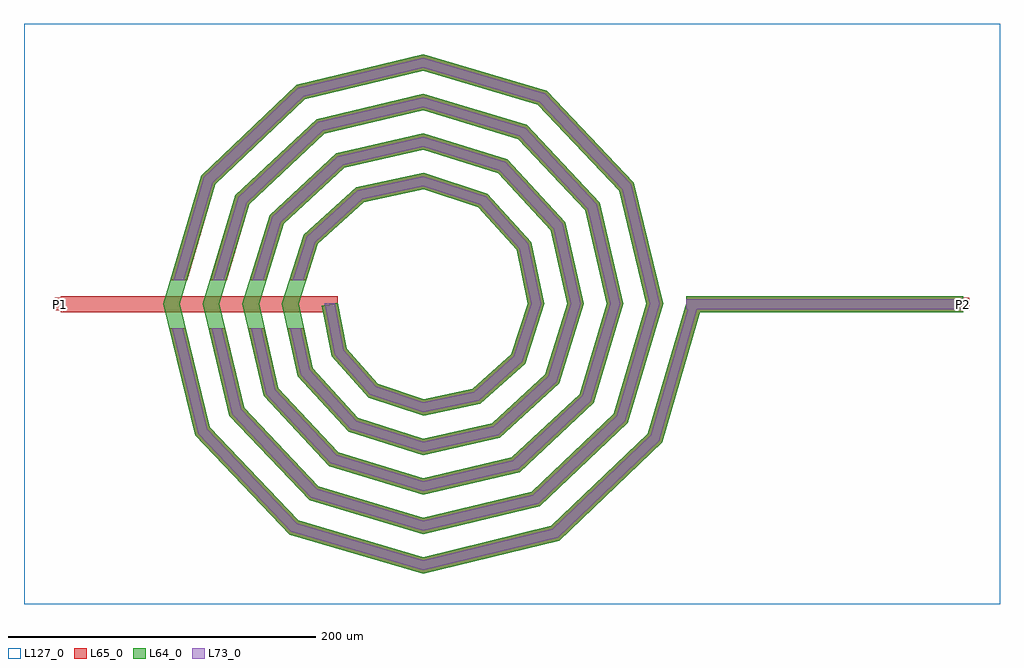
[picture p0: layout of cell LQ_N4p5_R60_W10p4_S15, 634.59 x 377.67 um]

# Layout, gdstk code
import gdstk
lib = gdstk.Library(unit=1e-6, precision=1e-09)
def R(c, l, rs):  # rectangles x0, y0, x1, y1
    for r in rs: c.add(gdstk.rectangle(r[:2], r[2:], *l))
def P(c, l, *ps):  # polygons
    for p in ps: c.add(gdstk.Polygon(p, *l))
L64_0 = (64, 0)
L65_0 = (65, 0)
L73_0 = (73, 0)
L127_0 = (127, 0)

lq_n4p5_r60_w10p4_s15 = lib.new_cell('LQ_N4p5_R60_W10p4_S15')
R(lq_n4p5_r60_w10p4_s15, L64_0, [(171.101,-5.2,351.101,5.2)])
P(lq_n4p5_r60_w10p4_s15, L64_0, [(-49.587,-29.024),(-29.512,-51.777),(0.32,-61.736),(32.207,-55.164),(57.323,-32.748),(68.158,0.292),(60.738,35.395),(35.98,62.872),(0.269,74.58),(-38.587,66.311),(-68.423,39.21),(-81.002,0.249),(-71.882,-41.782),(-42.436,-73.976),(0.232,-87.424),(44.978,-77.452),(79.53,-45.661),(93.846,0.217),(83.021,48.177),(48.884,85.085),(0.203,100.269),(-51.378,88.59),(-90.641,52.106),(-106.691,0.192),(-94.157,-54.579),(-55.327,-96.198),(0.181,-113.114),(57.782,-99.725),(101.755,-58.546),(119.537,0.172),(105.291,60.985),(61.765,107.313),(0.164,125.959),(-64.19,110.858),(-112.871,64.983),(-132.382,0.156),(-116.423,-67.395),(-68.201,-118.43),(0.149,-138.805),(70.6,-121.989),(123.989,-71.418),(145.227,0.143),(127.554,73.806),(74.634,129.548),(0.137,151.65),(-77.013,133.12),(-135.108,77.851),(-158.073,0.132),(-138.684,-80.219),(-81.066,-140.668),(0.127,-164.496),(83.427,-144.249),(146.227,-84.282),(171.31,1.46),(181.292,-1.46),(155.426,-89.878),(88.592,-153.696),(0.127,-175.26),(-86.671,-149.861),(-148.136,-85.377),(-168.837,0.132),(-144.297,83.464),(-82.161,142.576),(0.137,162.414),(80.257,138.731),(137.017,78.944),(155.991,0.143),(133.166,-77.051),(75.727,-131.457),(0.149,-149.568),(-73.845,-127.6),(-125.898,-72.51),(-143.145,0.156),(-122.034,70.639),(-69.292,120.339),(0.164,136.722),(67.435,116.467),(114.781,66.073),(130.299,0.172),(110.9,-64.231),(62.854,-109.223),(0.181,-123.876),(-61.027,-105.333),(-103.665,-59.634),(-117.452,0.192),(-99.765,57.825),(-56.412,98.108),(0.203,111.029),(54.624,94.196),(92.552,53.19),(104.606,0.217),(88.626,-51.424),(49.966,-86.996),(0.232,-98.182),(-48.226,-83.056),(-81.441,-46.74),(-91.759,0.249),(-77.484,45.03),(-43.512,75.888),(0.269,85.335),(41.836,71.91),(70.335,40.28),(78.911,0.292),(66.334,-38.646),(37.046,-64.785),(0.32,-72.487),(-35.459,-60.756),(-59.237,-33.806),(-65.788,-1.019),(-55.59,1.019)])
R(lq_n4p5_r60_w10p4_s15, L65_0, [(-235.489,-5.2,-55.489,5.2), (171.101,-5.2,351.101,5.2), (-239.489,-4,-231.489,4), (347.101,-4,355.101,4)])
P(lq_n4p5_r60_w10p4_s15, L65_0, [(-138.685,-80.219),(-81.066,-140.668),(0.127,-164.496),(83.427,-144.249),(146.228,-84.282),(171.31,1.46),(181.292,-1.46),(155.426,-89.878),(88.592,-153.696),(0.127,-175.26),(-86.671,-149.862),(-148.136,-85.377),(-165.029,-15.6),(-154.328,-15.6)],
  [(-116.423,-67.395),(-68.201,-118.43),(0.149,-138.805),(70.6,-121.989),(123.989,-71.418),(145.228,0.143),(127.554,73.806),(74.635,129.548),(0.137,151.65),(-77.013,133.12),(-135.108,77.851),(-153.44,15.6),(-164.282,15.6),(-144.297,83.464),(-82.161,142.577),(0.137,162.414),(80.257,138.731),(137.017,78.944),(155.991,0.143),(133.166,-77.051),(75.727,-131.457),(0.149,-149.568),(-73.845,-127.6),(-125.898,-72.51),(-139.405,-15.6),(-128.717,-15.6)],
  [(-94.157,-54.579),(-55.327,-96.198),(0.181,-113.114),(57.782,-99.725),(101.755,-58.546),(119.537,0.172),(105.291,60.985),(61.765,107.313),(0.164,125.959),(-64.19,110.858),(-112.871,64.983),(-127.663,15.6),(-138.519,15.6),(-122.034,70.639),(-69.292,120.339),(0.164,136.722),(67.435,116.467),(114.781,66.073),(130.299,0.172),(110.9,-64.231),(62.854,-109.223),(0.181,-123.876),(-61.027,-105.333),(-103.665,-59.634),(-113.813,-15.6),(-103.141,-15.6)],
  [(-71.882,-41.782),(-42.436,-73.976),(0.232,-87.424),(44.979,-77.452),(79.53,-45.661),(93.847,0.217),(83.021,48.177),(48.884,85.085),(0.204,100.269),(-51.378,88.59),(-90.641,52.106),(-101.845,15.6),(-112.724,15.6),(-99.765,57.825),(-56.412,98.108),(0.204,111.029),(54.624,94.196),(92.552,53.19),(104.606,0.217),(88.626,-51.424),(49.966,-86.996),(0.232,-98.182),(-48.226,-83.056),(-81.441,-46.74),(-88.279,-15.6),(-77.631,-15.6)],
  [(-29.512,-51.777),(0.32,-61.736),(32.207,-55.164),(57.323,-32.748),(68.158,0.292),(60.738,35.395),(35.98,62.872),(0.269,74.58),(-38.587,66.311),(-68.423,39.21),(-75.95,15.6),(-86.865,15.6),(-77.484,45.03),(-43.512,75.888),(0.269,85.335),(41.836,71.91),(70.336,40.28),(78.911,0.292),(66.334,-38.646),(37.046,-64.785),(0.32,-72.487),(-35.459,-60.756),(-59.237,-33.806),(-65.788,-1.019),(-55.59,1.019),(-49.587,-29.024)])
R(lq_n4p5_r60_w10p4_s15, L73_0, [(171.101,-3.2,351.101,3.2)])
P(lq_n4p5_r60_w10p4_s15, L73_0, [(-140.502,-81.211),(-82.144,-142.436),(0.078,-166.566),(84.42,-146.066),(147.997,-85.358),(173.23,0.899),(179.372,0.899),(153.657,-88.802),(87.599,-151.88),(0.078,-173.19),(-85.593,-148.093),(-146.319,-84.385),(-162.971,-15.6),(-156.386,-15.6)],
  [(-118.246,-68.378),(-69.286,-120.194),(0.092,-140.875),(71.586,-123.81),(125.754,-72.501),(147.297,0.088),(129.374,74.794),(75.716,131.314),(0.084,153.72),(-78.003,134.938),(-136.875,78.93),(-155.525,15.6),(-162.197,15.6),(-142.529,82.384),(-81.171,140.758),(0.084,160.344),(79.176,136.965),(135.197,77.956),(153.921,0.088),(131.401,-75.967),(74.741,-129.637),(0.092,-147.498),(-72.759,-125.837),(-124.076,-71.526),(-137.35,-15.6),(-130.772,-15.6)],
  [(-95.986,-55.551),(-56.423,-97.955),(0.112,-115.184),(58.757,-101.551),(103.514,-59.639),(121.606,0.106),(107.116,61.964),(62.855,109.074),(0.101,128.029),(-65.171,112.681),(-114.633,66.071),(-129.75,15.6),(-136.432,15.6),(-120.272,69.552),(-68.311,118.516),(0.101,134.652),(66.344,114.707),(112.956,65.095),(128.229,0.106),(109.142,-63.137),(61.879,-107.396),(0.112,-121.806),(-59.931,-103.576),(-101.837,-58.662),(-111.761,-15.6),(-105.193,-15.6)],
  [(-73.721,-42.735),(-43.55,-75.722),(0.143,-89.493),(45.938,-79.288),(81.279,-46.769),(95.916,0.133),(84.854,49.141),(49.988,86.837),(0.125,102.338),(-52.346,90.42),(-92.396,53.206),(-103.937,15.6),(-110.632,15.6),(-98.01,56.725),(-55.444,96.278),(0.125,108.96),(53.52,92.444),(90.719,52.226),(102.537,0.133),(86.877,-50.316),(49.007,-85.161),(0.143,-96.114),(-47.113,-81.31),(-79.603,-45.786),(-86.231,-15.6),(-79.679,-15.6)],
  [(-30.655,-53.504),(0.197,-63.804),(33.138,-57.014),(59.056,-33.882),(70.226,0.18),(62.584,36.335),(37.107,64.61),(0.165,76.648),(-39.534,68.153),(-70.166,40.329),(-78.049,15.6),(-84.766,15.6),(-75.741,43.911),(-42.565,74.046),(0.165,83.267),(40.71,70.172),(68.49,39.341),(76.843,0.18),(64.601,-37.511),(36.115,-62.935),(0.197,-70.42),(-34.315,-59.029),(-57.381,-32.886),(-63.827,0.627),(-57.551,0.627),(-51.443,-29.944)])
R(lq_n4p5_r60_w10p4_s15, L127_0, [(-259.489,-195.26,375.101,182.414)])
lq_n4p5_r60_w10p4_s15.add(gdstk.Label('P2', (351.101,0), layer=65, texttype=0))
lq_n4p5_r60_w10p4_s15.add(gdstk.Label('P1', (-235.489,0), layer=65, texttype=0))
lq_n4p5_r60_w10p4_s15.add(gdstk.Label('P2', (355.101,0), layer=145, texttype=0))
lq_n4p5_r60_w10p4_s15.add(gdstk.Label('P1', (-239.489,0), layer=145, texttype=0))

lib.write_gds('LQ_N4p5_R60_W10p4_S15.gds')
